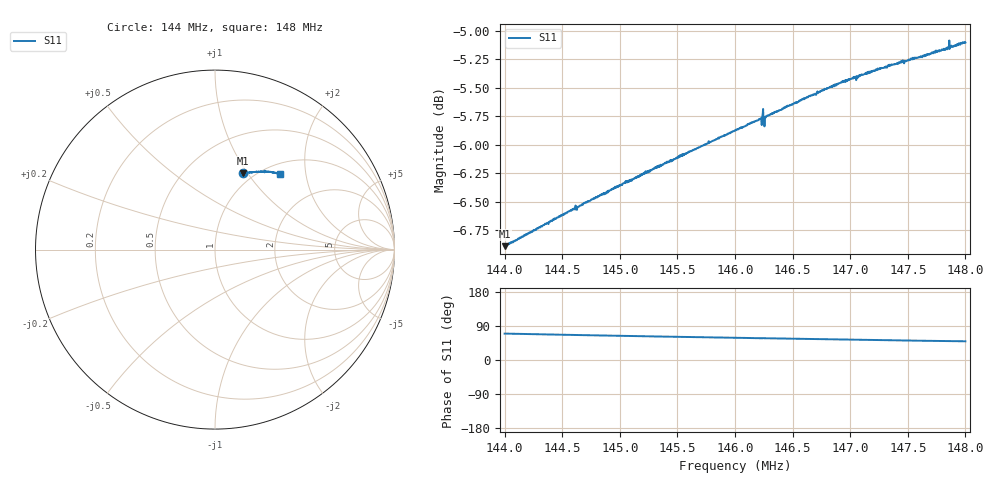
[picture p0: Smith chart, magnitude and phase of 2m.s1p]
! Calibrated averaged scanner-service zoom
# Hz S RI R 50
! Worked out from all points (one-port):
!   1001 points, 144 MHz to 148 MHz, reference 50 ohm
!   lowest |S11| = -6.9 dB at 144 MHz (marker M1), VSWR 2.65, Z = 44.7 + j47.7 ohm
!   |S11| at or under -10 dB: nowhere
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1.44e8  0.1572 0.4242
1.44076e8  0.161 0.4248
1.445e8  0.1847 0.4287
1.44644e8  0.1925 0.4296
1.44704e8  0.1961 0.4304
1.45e8  0.2119 0.432
1.45312e8  0.2288 0.4328
1.455e8  0.2385 0.4336
1.46e8  0.2642 0.4345
1.46204e8  0.2748 0.4343
1.46216e8  0.2755 0.4345
1.46224e8  0.2758 0.4347
1.46248e8  0.2758 0.4333
1.4626e8  0.2775 0.4341
1.46268e8  0.2779 0.4339
1.46284e8  0.279 0.4343
1.465e8  0.2901 0.434
1.46776e8  0.3046 0.4336
1.47e8  0.3168 0.4318
1.47244e8  0.3291 0.4292
1.475e8  0.3409 0.4261
1.47636e8  0.3469 0.4248
1.47748e8  0.3517 0.4239
1.47836e8  0.3553 0.4229
1.4788e8  0.3569 0.4231
1.47904e8  0.3582 0.4223
1.47956e8  0.3601 0.4218
1.48e8  0.362 0.4216
